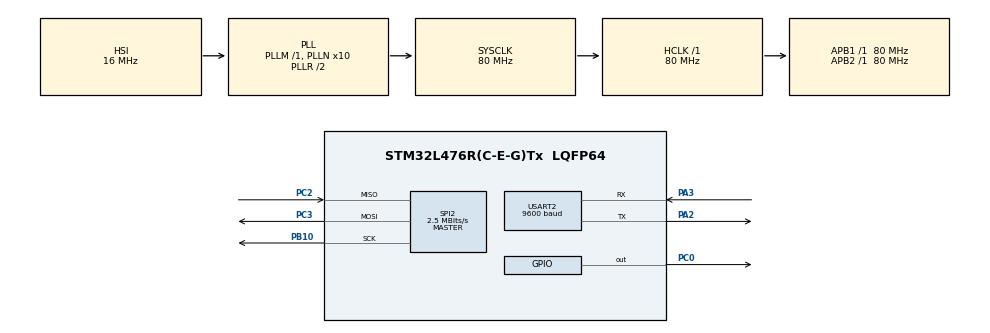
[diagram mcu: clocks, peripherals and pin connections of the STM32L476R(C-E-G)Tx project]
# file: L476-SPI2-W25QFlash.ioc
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Mcu.Family=STM32L4
Mcu.Name=STM32L476R(C-E-G)Tx
Mcu.Package=LQFP64
NVIC.PriorityGroup=NVIC_PRIORITYGROUP_4
PA13\ (JTMS-SWDIO).Mode=Serial_Wire
PA13\ (JTMS-SWDIO).Signal=SYS_JTMS-SWDIO
PA14\ (JTCK-SWCLK).Mode=Serial_Wire
PA14\ (JTCK-SWCLK).Signal=SYS_JTCK-SWCLK
PA2.Mode=Asynchronous
PA2.Signal=USART2_TX
PA3.Mode=Asynchronous
PA3.Signal=USART2_RX
PB10.Mode=Full_Duplex_Master
PB10.Signal=SPI2_SCK
PC0.GPIO_Speed=GPIO_SPEED_FREQ_HIGH
PC0.PinState=GPIO_PIN_SET
PC0.Signal=GPIO_Output
PC2.Mode=Full_Duplex_Master
PC2.Signal=SPI2_MISO
PC3.Mode=Full_Duplex_Master
PC3.Signal=SPI2_MOSI
ProjectManager.HeapSize=0x200
ProjectManager.StackSize=0x400
ProjectManager.TargetToolchain=STM32CubeIDE
RCC.ADCFreq_Value=64000000
RCC.AHBFreq_Value=80000000
RCC.APB1Freq_Value=80000000
RCC.APB1TimFreq_Value=80000000
RCC.APB2Freq_Value=80000000
RCC.APB2TimFreq_Value=80000000
RCC.CortexFreq_Value=80000000
RCC.HCLKFreq_Value=80000000
RCC.HSE_VALUE=8000000
RCC.HSI_VALUE=16000000
RCC.LSE_VALUE=32768
RCC.MSI_VALUE=4000000
RCC.PLLN=10
RCC.PLLSourceVirtual=RCC_PLLSOURCE_HSI
RCC.PREFETCH_ENABLE=1
RCC.SYSCLKFreq_VALUE=80000000
RCC.SYSCLKSource=RCC_SYSCLKSOURCE_PLLCLK
RCC.USBFreq_Value=64000000
RCC.VCOOutputFreq_Value=160000000
SPI2.BaudRatePrescaler=SPI_BAUDRATEPRESCALER_32
SPI2.CLKPolarity=SPI_POLARITY_LOW
SPI2.CalculateBaudRate=2.5 MBits/s
SPI2.DataSize=SPI_DATASIZE_8BIT
SPI2.Direction=SPI_DIRECTION_2LINES
SPI2.Mode=SPI_MODE_MASTER
SPI2.VirtualType=VM_MASTER
USART2.BaudRate=9600
USART2.VirtualMode-Asynchronous=VM_ASYNC
board=NUCLEO-L476RG

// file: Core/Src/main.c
/* USER CODE BEGIN Header */
/**
  ******************************************************************************
  * @file           : main.c
  * @brief          : Main program body
  ******************************************************************************
  * @attention
  *
  * Copyright (c) 2026 STMicroelectronics.
  * All rights reserved.
  *
  * This software is licensed under terms that can be found in the LICENSE file
  * in the root directory of this software component.
  * If no LICENSE file comes with this software, it is provided AS-IS.
  *
  ******************************************************************************
  */
/* USER CODE END Header */
#include "main.h"

/* USER CODE BEGIN Includes */
#include "string.h"
#include "stdio.h"
#include "w25qxx.h"
/* USER CODE END Includes */

/* USER CODE BEGIN PTD */
void UART_SEND(UART_HandleTypeDef *huart, char buffer[]){
	HAL_UART_Transmit(huart, (uint8_t*) buffer, strlen(buffer), HAL_MAX_DELAY);
}
/* USER CODE END PTD */

SPI_HandleTypeDef hspi2;

UART_HandleTypeDef huart2;

void SystemClock_Config(void);
static void MX_GPIO_Init(void);
static void MX_SPI2_Init(void);
static void MX_USART2_UART_Init(void);

int main(void)
{

  /* MCU Configuration--------------------------------------------------------*/

  /* Reset of all peripherals, Initializes the Flash interface and the Systick. */
  HAL_Init();

  /* Configure the system clock */
  SystemClock_Config();

  /* Initialize all configured peripherals */
  MX_GPIO_Init();
  MX_SPI2_Init();
  MX_USART2_UART_Init();
  /* USER CODE BEGIN 2 */
  //***********************Test UART for printf on Putty******************//
  char Text2Display[]="Hello World! Nucleo-L476RG \n\r";
  HAL_UART_Transmit(&huart2, (uint8_t*) Text2Display, strlen(Text2Display), HAL_MAX_DELAY);
  //***********************Test UART**************************************//

  //***********************get W25Qxx ID**************************************//
  uint8_t cmd = 0x9F;
  uint8_t id[3] = {0};
  W25Q_CS_LOW();
  HAL_SPI_Transmit(&hspi2, &cmd, 1, HAL_MAX_DELAY);
  HAL_SPI_Receive(&hspi2, id, 3, HAL_MAX_DELAY);
  W25Q_CS_HIGH();

  char uartBuf[64];

  sprintf(uartBuf,
		  "JEDEC ID = %02X %02X %02X\r\n",
		  id[0],
		  id[1],
		  id[2]);

  UART_SEND(&huart2, uartBuf);
  //**************************************************************************//

  //***********************Put ReadStatus function into main******************//
  uint8_t status;

  W25Q_WriteEnable();

  status = W25Q_ReadStatus();

  sprintf(uartBuf,
          "Status = 0x%02X\r\n",
          status);

  UART_SEND(&huart2, uartBuf);
  //**************************************************************************//

  //***********************Put W25Q_SectorErase into main****************//
  W25Q_SectorErase(0x000000);

  UART_SEND(&huart2,
            "Sector Erase OK\r\n");
  //**************************************************************************//

  //***********************Put Read into main********************************//
  uint8_t data[16];

  W25Q_Read(0x000000, data, 16);

  for(int i=0; i<16; i++)
  {
      sprintf(uartBuf,"%02X ",data[i]);
      UART_SEND(&huart2,uartBuf);
  }

  UART_SEND(&huart2,"\r\n");
  //**************************************************************************//

  //***********************Put Write and Read and check into main*************//
  char writeData[] = "Hello W25Qxx";
  char readData[16] = {0};

  W25Q_Write(0x000000,
             (uint8_t*)writeData,
             strlen(writeData)+1);

  UART_SEND(&huart2,
            "Write OK\r\n");

  W25Q_Read(0x000000,
            (uint8_t*)readData,
            sizeof(readData));

  sprintf(uartBuf,
          "Read = %s\r\n",
          readData);

  UART_SEND(&huart2,
            uartBuf);

  if(strcmp(writeData, readData) == 0)
  {
      UART_SEND(&huart2,
                "PASS\r\n");
  }
  else
  {
      UART_SEND(&huart2,
                "FAIL\r\n");
  }

  /* USER CODE END 2 */

  /* Infinite loop */
  while(1)
  {

  }
}

void SystemClock_Config(void)
{
  RCC_OscInitTypeDef RCC_OscInitStruct = {0};
  RCC_ClkInitTypeDef RCC_ClkInitStruct = {0};

  /** Configure the main internal regulator output voltage
  */
  if (HAL_PWREx_ControlVoltageScaling(PWR_REGULATOR_VOLTAGE_SCALE1) != HAL_OK)
  {
    Error_Handler();
  }

  /** Initializes the RCC Oscillators according to the specified parameters
  * in the RCC_OscInitTypeDef structure.
  */
  RCC_OscInitStruct.OscillatorType = RCC_OSCILLATORTYPE_HSI;
  RCC_OscInitStruct.HSIState = RCC_HSI_ON;
  RCC_OscInitStruct.HSICalibrationValue = RCC_HSICALIBRATION_DEFAULT;
  RCC_OscInitStruct.PLL.PLLState = RCC_PLL_ON;
  RCC_OscInitStruct.PLL.PLLSource = RCC_PLLSOURCE_HSI;
  RCC_OscInitStruct.PLL.PLLM = 1;
  RCC_OscInitStruct.PLL.PLLN = 10;
  RCC_OscInitStruct.PLL.PLLP = RCC_PLLP_DIV7;
  RCC_OscInitStruct.PLL.PLLQ = RCC_PLLQ_DIV2;
  RCC_OscInitStruct.PLL.PLLR = RCC_PLLR_DIV2;
  if (HAL_RCC_OscConfig(&RCC_OscInitStruct) != HAL_OK)
  {
    Error_Handler();
  }

  /** Initializes the CPU, AHB and APB buses clocks
  */
  RCC_ClkInitStruct.ClockType = RCC_CLOCKTYPE_HCLK|RCC_CLOCKTYPE_SYSCLK
                              |RCC_CLOCKTYPE_PCLK1|RCC_CLOCKTYPE_PCLK2;
  RCC_ClkInitStruct.SYSCLKSource = RCC_SYSCLKSOURCE_PLLCLK;
  RCC_ClkInitStruct.AHBCLKDivider = RCC_SYSCLK_DIV1;
  RCC_ClkInitStruct.APB1CLKDivider = RCC_HCLK_DIV1;
  RCC_ClkInitStruct.APB2CLKDivider = RCC_HCLK_DIV1;

  if (HAL_RCC_ClockConfig(&RCC_ClkInitStruct, FLASH_LATENCY_4) != HAL_OK)
  {
    Error_Handler();
  }
}

static void MX_SPI2_Init(void)
{

  /* SPI2 parameter configuration*/
  hspi2.Instance = SPI2;
  hspi2.Init.Mode = SPI_MODE_MASTER;
  hspi2.Init.Direction = SPI_DIRECTION_2LINES;
  hspi2.Init.DataSize = SPI_DATASIZE_8BIT;
  hspi2.Init.CLKPolarity = SPI_POLARITY_LOW;
  hspi2.Init.CLKPhase = SPI_PHASE_1EDGE;
  hspi2.Init.NSS = SPI_NSS_SOFT;
  hspi2.Init.BaudRatePrescaler = SPI_BAUDRATEPRESCALER_32;
  hspi2.Init.FirstBit = SPI_FIRSTBIT_MSB;
  hspi2.Init.TIMode = SPI_TIMODE_DISABLE;
  hspi2.Init.CRCCalculation = SPI_CRCCALCULATION_DISABLE;
  hspi2.Init.CRCPolynomial = 7;
  hspi2.Init.CRCLength = SPI_CRC_LENGTH_DATASIZE;
  hspi2.Init.NSSPMode = SPI_NSS_PULSE_ENABLE;
  if (HAL_SPI_Init(&hspi2) != HAL_OK)
  {
    Error_Handler();
  }

}

static void MX_USART2_UART_Init(void)
{

  huart2.Instance = USART2;
  huart2.Init.BaudRate = 9600;
  huart2.Init.WordLength = UART_WORDLENGTH_8B;
  huart2.Init.StopBits = UART_STOPBITS_1;
  huart2.Init.Parity = UART_PARITY_NONE;
  huart2.Init.Mode = UART_MODE_TX_RX;
  huart2.Init.HwFlowCtl = UART_HWCONTROL_NONE;
  huart2.Init.OverSampling = UART_OVERSAMPLING_16;
  huart2.Init.OneBitSampling = UART_ONE_BIT_SAMPLE_DISABLE;
  huart2.AdvancedInit.AdvFeatureInit = UART_ADVFEATURE_NO_INIT;
  if (HAL_UART_Init(&huart2) != HAL_OK)
  {
    Error_Handler();
  }

}

static void MX_GPIO_Init(void)
{
  GPIO_InitTypeDef GPIO_InitStruct = {0};

  /* GPIO Ports Clock Enable */
  __HAL_RCC_GPIOC_CLK_ENABLE();
  __HAL_RCC_GPIOA_CLK_ENABLE();
  __HAL_RCC_GPIOB_CLK_ENABLE();

  /*Configure GPIO pin Output Level */
  HAL_GPIO_WritePin(GPIOC, GPIO_PIN_0, GPIO_PIN_SET);

  /*Configure GPIO pin : PC0 */
  GPIO_InitStruct.Pin = GPIO_PIN_0;
  GPIO_InitStruct.Mode = GPIO_MODE_OUTPUT_PP;
  GPIO_InitStruct.Pull = GPIO_NOPULL;
  GPIO_InitStruct.Speed = GPIO_SPEED_FREQ_HIGH;
  HAL_GPIO_Init(GPIOC, &GPIO_InitStruct);

}

void Error_Handler(void)
{
  __disable_irq();
  while (1)
  {
  }
}
